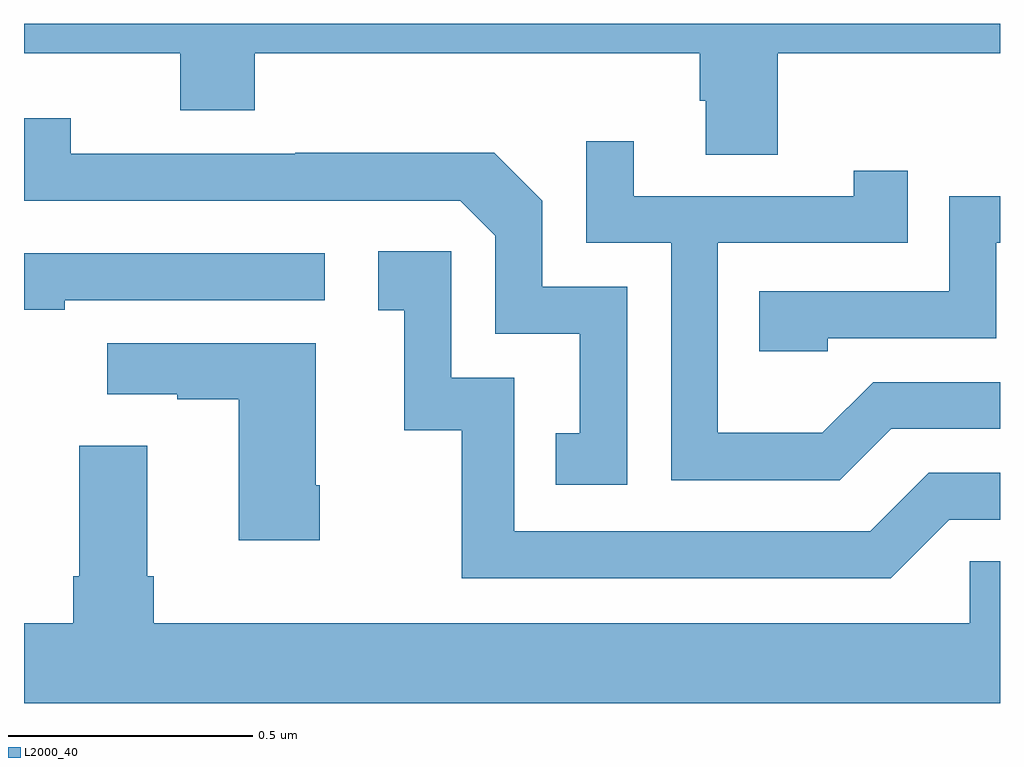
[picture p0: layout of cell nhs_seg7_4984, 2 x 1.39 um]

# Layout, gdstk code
import gdstk
lib = gdstk.Library(unit=1e-6, precision=1e-09)
def P(c, l, *ps):  # polygons
    for p in ps: c.add(gdstk.Polygon(p, *l))
L2000_40 = (2000, 40)

nhs_seg7_4984 = lib.new_cell('nhs_seg7_4984')
P(nhs_seg7_4984, L2000_40, [(181.545,1009.94),(182,1009.94),(182,1010),(180,1010),(180,1009.94),(180.32,1009.94),(180.32,1009.823),(180.473,1009.823),(180.473,1009.94),(181.385,1009.94),(181.385,1009.842),(181.397,1009.842),(181.397,1009.732),(181.545,1009.732)],
  [(181.236,1009.461),(181.062,1009.461),(181.062,1009.638),(180.964,1009.736),(180.556,1009.736),(180.556,1009.734),(180.096,1009.734),(180.096,1009.807),(180,1009.807),(180,1009.638),(180.894,1009.638),(180.966,1009.566),(180.966,1009.365),(181.139,1009.365),(181.139,1009.161),(181.09,1009.161),(181.09,1009.056),(181.236,1009.056)],
  [(181.777,1009.17),(182,1009.17),(182,1009.266),(181.74,1009.266),(181.636,1009.162),(181.422,1009.162),(181.422,1009.551),(181.811,1009.551),(181.811,1009.699),(181.7,1009.699),(181.7,1009.647),(181.249,1009.647),(181.249,1009.759),(181.152,1009.759),(181.152,1009.551),(181.326,1009.551),(181.326,1009.065),(181.672,1009.065)],
  [(181.647,1009.356),(181.992,1009.356),(181.992,1009.551),(182,1009.551),(182,1009.647),(181.896,1009.647),(181.896,1009.452),(181.507,1009.452),(181.507,1009.329),(181.647,1009.329)],
  [(181.896,1008.984),(182,1008.984),(182,1009.08),(181.854,1009.08),(181.734,1008.96),(181.005,1008.96),(181.005,1009.275),(180.876,1009.275),(180.876,1009.534),(180.726,1009.534),(180.726,1009.413),(180.779,1009.413),(180.779,1009.167),(180.897,1009.167),(180.897,1008.864),(181.776,1008.864)],
  [(180.083,1009.434),(180.616,1009.434),(180.616,1009.53),(180,1009.53),(180,1009.414),(180.083,1009.414)],
  [(180.606,1009.054),(180.598,1009.054),(180.598,1009.345),(180.171,1009.345),(180.171,1009.241),(180.314,1009.241),(180.314,1009.231),(180.44,1009.231),(180.44,1008.942),(180.606,1008.942)],
  [(182,1008.899),(181.938,1008.899),(181.938,1008.772),(180.266,1008.772),(180.266,1008.868),(180.253,1008.868),(180.253,1009.135),(180.113,1009.135),(180.113,1008.868),(180.101,1008.868),(180.101,1008.772),(180,1008.772),(180,1008.608),(182,1008.608)])

lib.write_gds('nhs_seg7_4984.gds')
